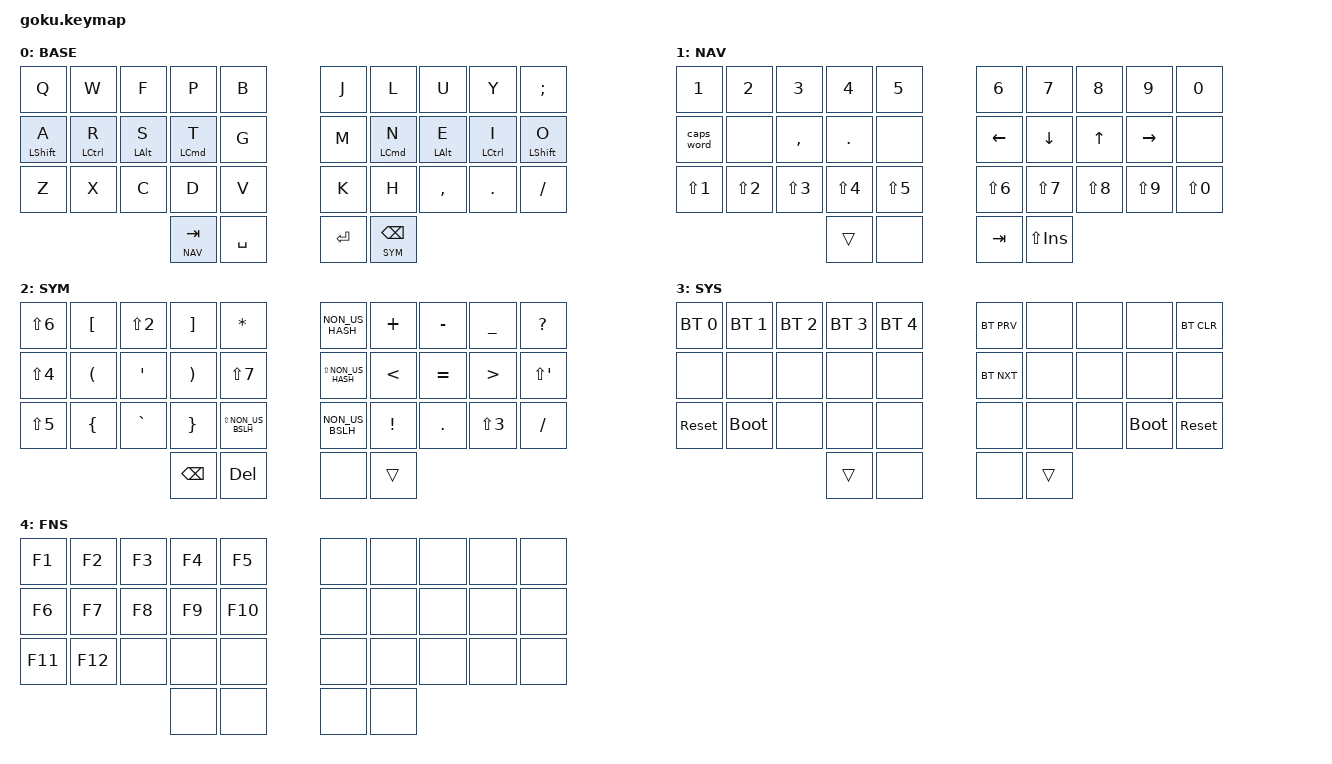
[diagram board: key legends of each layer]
/*
 * Copyright (c) 2024 Quang Nguyen
 *
 * SPDX-License-Identifier: MIT
 */

#include <behaviors.dtsi>
#include <dt-bindings/zmk/keys.h>
#include <dt-bindings/zmk/bt.h>
#include <dt-bindings/zmk/outputs.h>

// Layer definitions
#define BASE 0
#define NAV 1
#define SYM 2
#define SYS 3
#define FNS 4
// -----------------

&sk {
	// don't release mods on other mods presses
	ignore-modifiers;
};


/ {
	behaviors {
		// Enables holding the first mod-tap key
		// by performing a tap-release-hold sequence.
		// To use it: "&qt KEYCODE1 KEYCODE2"
		qt: quick_tap {
			compatible = "zmk,behavior-hold-tap";
			#binding-cells = <2>;
			flavor = "hold-preferred";
			tapping-term-ms = <200>;
			quick-tap-ms = <200>;
			bindings = <&kp>, <&kp>;
		};

		pht: positional_hold_tap {
            compatible = "zmk,behavior-hold-tap";
            #binding-cells = <2>;
            flavor = "hold-preferred";
            tapping-term-ms = <400>;
            quick-tap-ms = <200>;
            bindings = <&kp>, <&kp>;
            hold-trigger-key-positions = <1>;    // <---[[the W key]]
        };
	};

	macros {

	};

    /*           34 Keys
    ╭──────────────╮ ╭──────────────╮
    │ 0  1  2  3  4│ │ 5  6  7  8  9│
    │10 11 12 13 14│ │15 16 17 18 19│
    │20 21 22 23 24│ │25 26 27 28 29│
    ╰────────╮30 31│ │32 33╭────────╯
             ╰─────╯ ╰─────╯       */

	combos {
		compatible = "zmk,combos";

		combo_shift_l {
            key-positions = <3 13>;
            bindings = <&kp LSHIFT>;
        };

        combo_shift_r {
            key-positions = <6 16>;
            bindings = <&kp LSHIFT>;
        };

        combo_ctrl_l {
            key-positions = <2 12>;
            bindings = <&kp LCTRL>;
        };

        combo_ctrl_r {
            key-positions = <7 17>;
            bindings = <&kp LCTRL>;
        };

        combo_gui_l {
            key-positions = <1 11>;
            bindings = <&kp LGUI>;
        };

        combo_gui_r {
            key-positions = <8 18>;
            bindings = <&kp LGUI>;
        };

        combo_alt_l {
            key-positions = <0 10>;
            bindings = <&kp LALT>;
        };

        combo_alt_r {
            key-positions = <9 19>;
            bindings = <&kp LALT>;
        };

        combo_bkspc {
            key-positions = <30 31>;
            bindings = <&kp BSPC>;
        };

        combo_syslayer {
            key-positions = <30 33>;
            bindings = <&mo SYS>;
        };

        combo_fnlayer {
            key-positions = <32 29>;
            bindings = <&mo FNS>;
        };

        combo_esc {
            key-positions = <5 15>;
            bindings = <&kp ESC>;
        };

        combo_pg_dn {
            key-positions = <16 26>;
            bindings = <&kp PG_DN>;
        };

        combo_pg_up {
            key-positions = <17 27>;
            bindings = <&kp PG_UP>;
        };

        combo_home {
            key-positions = <10 20>;
            bindings = <&kp HOME>;
        };

        combo_end {
            key-positions = <14 24>;
            bindings = <&kp END>;
        };

        combo_tab {
            key-positions = <4 14>;
            bindings = <&kp TAB>;
        };

        combo_tmux_prefix {
            key-positions = <32 33>;
            bindings = <&kp LC(A)>;
        };

        // timeout-ms = <200>;
        // bindings = <&mo ACCENT>;
	};

	keymap {
		compatible = "zmk,keymap";

 /*           34 Keys
    ╭─────────────────────╮ ╭────────────────────╮
    │  q   w   f   p   b  │ │  j   l   u   y   ; │
    │  a   r   s   t   g  │ │  m   n   e   i   o │
    │  z   x   c   d   v  │ │  k   h   ,   .   / │
    ╰──────────╮   @   @  │ │  @   @   ╭─────────╯
               ╰──────────╯ ╰──────────╯            */

        base {
            display-name = "BASE";
            bindings = <
                &kp Q		        &kp W		        &kp F		    &kp P		    &kp B						&kp J		&kp L		    &kp U		    &kp Y		        &kp SEMI
                &pht LSHFT A		&pht LCTRL R		&pht LALT S		&pht LCMD T		&kp G						&kp M		&pht LCMD N		&pht LALT E		&pht LCTRL I		&pht LSHFT O
                &kp Z		        &kp X		        &kp C		    &kp D		    &kp V						&kp K		&kp H		    &kp COMMA	    &kp DOT		        &kp SLASH
                                                                        &lt NAV TAB     &kp SPACE				    &kp RET		&lt SYM BSPC
                >;
        };

        nav {
            display-name = "NAV";
            bindings = <
                &kp N1		&kp N2		&kp N3		    &kp N4		&kp N5						    &kp N6		&kp	N7		&kp N8		&kp N9		&kp N0
                &caps_word	&none		&kp COMMA		&kp DOT		&none					        &kp LEFT	&kp DOWN	&kp UP		&kp RIGHT 	&none
                &kp LS(N1)	&kp LS(N2)	&kp LS(N3)	    &kp LS(N4)	&kp LS(N5)					    &kp LS(N6)	&kp	LS(N7)	&kp LS(N8)	&kp LS(N9)	&kp LS(N0)
                                                        &trans		&none						    &kp TAB		&kp LS(INS)
                >;
        };

        sym {
            display-name = "SYM";
            bindings = <
                &kp LS(N6)	&kp LBKT	&kp LS(N2)	&kp RBKT	    &kp STAR					    &kp NON_US_HASH	    &kp PLUS	&kp MINUS	&kp UNDER	&kp QMARK
                &kp LS(N4)	&kp LPAR	&kp SQT		&kp RPAR	    &kp	LS(N7)					    &kp LS(NON_US_HASH)	&kp LT	    &kp EQUAL	&kp GT 	    &kp LS(SQT)
                &kp LS(N5)	&kp	LBRC	&kp GRAVE	&kp RBRC	    &kp LS(NON_US_BSLH)			    &kp NON_US_BSLH	    &kp EXCL	&kp DOT	    &kp LS(N3)	&kp SLASH
                                                    &kp BSPC    	&kp DEL						    &none		        &trans
                >;
        };

		sys {
            display-name = "SYS";
            bindings = <
                &bt BT_SEL 0	&bt BT_SEL 1	&bt BT_SEL 2	&bt BT_SEL 3	&bt BT_SEL 4		&bt BT_PRV	    &none		&none		&none		    &bt BT_CLR
                &none		    &none		    &none		    &none		    &none				&bt BT_NXT		&none		&none		&none		    &none
                &sys_reset	    &bootloader		&none		    &none		    &none				&none		    &none		&none	    &bootloader		&sys_reset
                                                                &trans		    &none				&none	    	&trans
                >;
        };

        fns {
            display-name = "FNS";
            bindings = <
                &kp F1		&kp F2		&kp F3		&kp F4		&kp F5						        &none		&none		&none		&none		&none
                &kp F6		&kp F7		&kp F8		&kp F9		&kp F10						        &none		&none		&none		&none		&none
                &kp F11		&kp F12		&none		&none		&none						        &none		&none		&none		&none		&none
                                                    &none		&none						        &none		&none
                >;
        };

	};
};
